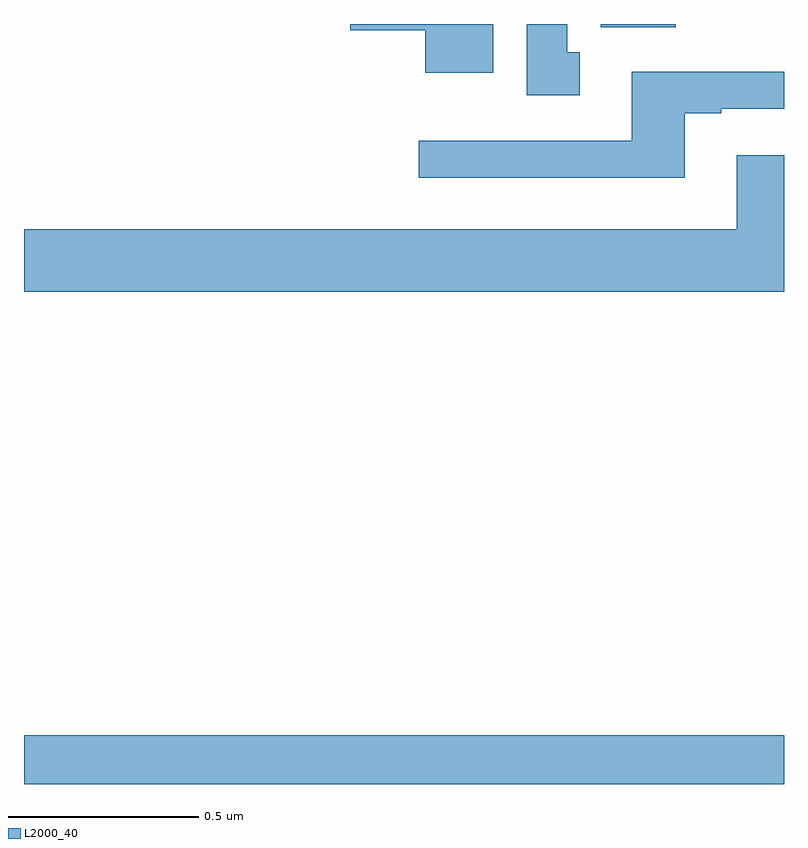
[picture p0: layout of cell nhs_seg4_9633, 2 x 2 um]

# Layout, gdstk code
import gdstk
lib = gdstk.Library(unit=1e-6, precision=1e-09)
def R(c, l, rs):  # rectangles x0, y0, x1, y1
    for r in rs: c.add(gdstk.rectangle(r[:2], r[2:], *l))
def P(c, l, *ps):  # polygons
    for p in ps: c.add(gdstk.Polygon(p, *l))
L2000_40 = (2000, 40)

nhs_seg4_9633 = lib.new_cell('nhs_seg4_9633')
R(nhs_seg4_9633, L2000_40, [(230,752.9,232,753.028), (231.518,754.892,231.715,754.9)])
P(nhs_seg4_9633, L2000_40, [(231.463,754.826),(231.43,754.826),(231.43,754.9),(231.323,754.9),(231.323,754.713),(231.463,754.713)],
  [(231.235,754.9),(230.858,754.9),(230.858,754.883),(231.056,754.883),(231.056,754.772),(231.235,754.772)],
  [(231.739,754.665),(231.835,754.665),(231.835,754.677),(232,754.677),(232,754.774),(231.599,754.774),(231.599,754.593),(231.039,754.593),(231.039,754.496),(231.739,754.496)],
  [(232,754.555),(231.875,754.555),(231.875,754.36),(230,754.36),(230,754.196),(232,754.196)])

lib.write_gds('nhs_seg4_9633.gds')
